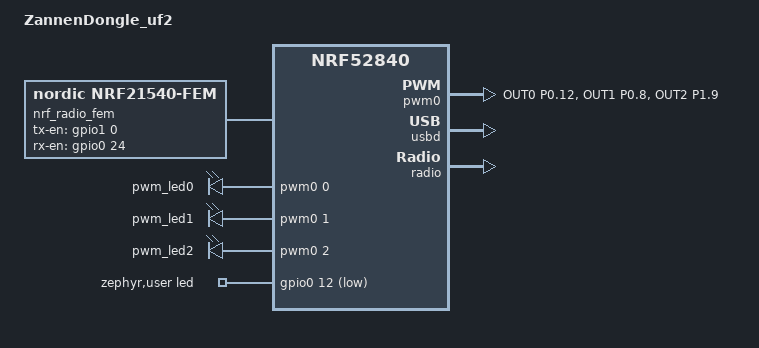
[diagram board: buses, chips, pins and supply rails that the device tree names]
// Copyright (c) 2025 SlimeVR Contributors
// SPDX-License-Identifier: Apache-2.0

/dts-v1/;
#include <nordic/nrf52840_qiaa.dtsi>

// PWM pin assignment for RGB status LED
// Red:   P0.12, Green: P0.08, Blue:  P1.09
&pinctrl {
	pwm0_default: pwm0_default {
		group1 {
			psels = <NRF_PSEL(PWM_OUT0, 0, 12)>,
				<NRF_PSEL(PWM_OUT1, 0, 8)>,
				<NRF_PSEL(PWM_OUT2, 1, 9)>;
			nordic,drive-mode = <NRF_DRIVE_D0S1>;
			nordic,invert;
		};
	};

	pwm0_sleep: pwm0_sleep {
		group1 {
			psels = <NRF_PSEL(PWM_OUT0, 0, 12)>,
				<NRF_PSEL(PWM_OUT1, 0, 8)>,
				<NRF_PSEL(PWM_OUT2, 1, 9)>;
			low-power-enable;
		};
	};
};

/ {
	model = "ZannenDongle_uf2";
	compatible = "zannendongle_uf2";

	chosen {
		zephyr,sram = &sram0;
		zephyr,flash = &flash0;
		zephyr,console = &cdc_acm_uart0;
		zephyr,shell-uart = &cdc_acm_uart0;
	};

	// RFX2401C FEM: simple 2-control-pin front-end module
	// Uses nRF21540 GPIO-only driver via MPSL for TX/RX switching.
	// The nRF21540 driver is MPSL-native and correctly handles ESB
	// radio events to toggle TXEN/RXEN automatically.
	// TXEN = P1.00, RXEN = P0.24
	nrf_radio_fem: rfx2401c_fem {
		compatible = "nordic,nrf21540-fem";
		tx-en-gpios = <&gpio1 0 GPIO_ACTIVE_HIGH>;    // RFX2401C TXEN (P1.00)
		rx-en-gpios = <&gpio0 24 GPIO_ACTIVE_HIGH>;   // RFX2401C RXEN (P0.24)
	};

	// PWM-driven RGB LED
	pwmleds {
		compatible = "pwm-leds";
		pwm_led0: pwm_led_0 {
			pwms = <&pwm0 0 PWM_MSEC(1) PWM_POLARITY_INVERTED>;
		};
		pwm_led1: pwm_led_1 {
			pwms = <&pwm0 1 PWM_MSEC(1) PWM_POLARITY_INVERTED>;
		};
		pwm_led2: pwm_led_2 {
			pwms = <&pwm0 2 PWM_MSEC(1) PWM_POLARITY_INVERTED>;
		};
	};

	aliases {
		pwm-led0 = &pwm_led0;
		pwm-led1 = &pwm_led1;
		pwm-led2 = &pwm_led2;
	};

	// Simple GPIO LED (fallback indicator on Red channel)
	zephyr,user {
		led-gpios = <&gpio0 12 (GPIO_ACTIVE_LOW | GPIO_OPEN_DRAIN)>;
	};
};

// nRF52840 internal main regulator (REG1) — use LDO mode by default.
// DCDC mode requires external LC components; use LDO for guaranteed stability.
// If the PCB includes the DCDC inductor/capacitor, change to NRF5X_REG_MODE_DCDC.
&reg1 {
	regulator-initial-mode = <NRF5X_REG_MODE_LDO>;
};

&gpio0 {
	status = "okay";
};

&gpio1 {
	status = "okay";
};

&gpiote {
	status = "okay";
};

&pwm0 {
	status = "okay";
	pinctrl-0 = <&pwm0_default>;
	pinctrl-1 = <&pwm0_sleep>;
	pinctrl-names = "default", "sleep";
};

// USB peripheral with CDC ACM UART console
zephyr_udc0: &usbd {
	compatible = "nordic,nrf-usbd";
	status = "okay";
	cdc_acm_uart0: cdc_acm_uart0 {
		compatible = "zephyr,cdc-acm-uart";
	};
};

// CryptoCell not needed for receiver firmware
&cryptocell {
	status = "disabled";
};

// NFC not used, disable to free GPIO pins
&nfct {
	status = "disabled";
};

// Link the FEM to the radio peripheral
&radio {
	fem = <&nrf_radio_fem>;
};
